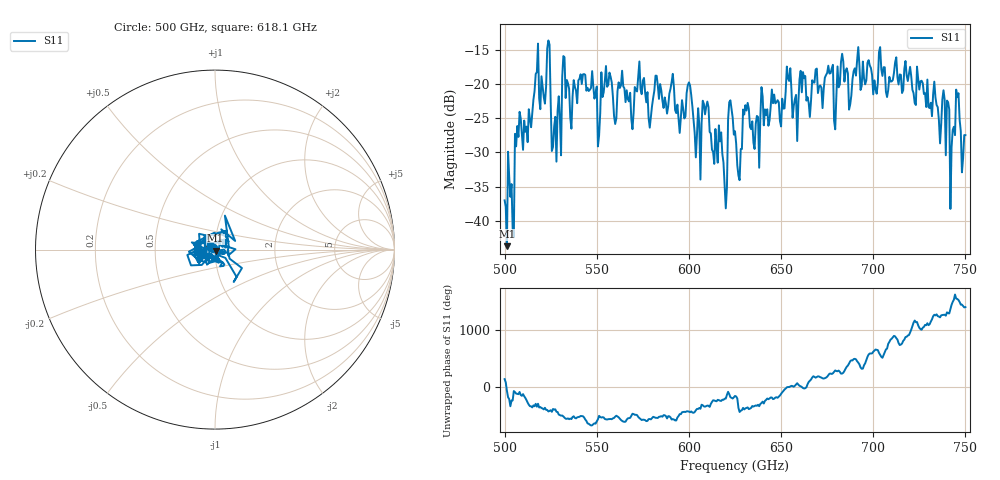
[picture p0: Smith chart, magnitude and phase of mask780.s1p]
!Created with skrf (http://scikit-rf.org).
# GHz S MA R 50.0
!freq magS11 angS11
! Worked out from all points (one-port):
!   401 points, 500 GHz to 750 GHz, reference 50 ohm
!   lowest |S11| = -43.7 dB at 501.2 GHz (marker M1), VSWR 1.01, Z = 50.3 - j0.57 ohm
!   |S11| at or under -10 dB: start of sweep to end of sweep
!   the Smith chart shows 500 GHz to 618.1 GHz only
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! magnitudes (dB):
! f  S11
! 500 GHz  -37.0
! 501.2 GHz  -43.7
! 503.8 GHz  -34.6
! 506.9 GHz  -26.1
! 513.8 GHz  -25.1
! 516.9 GHz  -18.5
! 523.8 GHz  -13.6
! 526.9 GHz  -26.2
! 531.2 GHz  -19.0
! 542.5 GHz  -18.6
! 550.6 GHz  -29.1
! 562.5 GHz  -20.6
! 579.4 GHz  -24.8
! 590.6 GHz  -19.7
! 593.8 GHz  -23.0
! 600 GHz  -19.8
! 605 GHz  -23.5
! 609.4 GHz  -23.3
! 619.4 GHz  -34.8
! 622.5 GHz  -22.4
! 625 GHz  -26.9
! 627.5 GHz  -34.1
! 630.6 GHz  -23.1
! 636.9 GHz  -24.7
! 656.2 GHz  -24.9
! 687.5 GHz  -23.0
! 718.8 GHz  -19.6
! 750 GHz  -27.5
